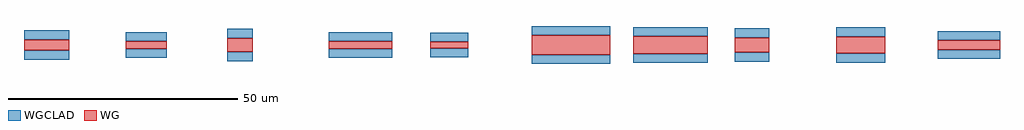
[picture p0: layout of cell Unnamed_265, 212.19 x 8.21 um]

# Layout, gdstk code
import gdstk
lib = gdstk.Library(unit=1e-6, precision=1e-09)
def R(c, l, rs):  # rectangles x0, y0, x1, y1
    for r in rs: c.add(gdstk.rectangle(r[:2], r[2:], *l))
WG = (1, 0)
WGCLAD = (111, 0)

straight_w2000_l13561_lw = lib.new_cell('straight_W2000_L13561_LWG_EWGSTD')
R(straight_w2000_l13561_lw, WG, [(0,-1,13.561,1)])
R(straight_w2000_l13561_lw, WGCLAD, [(0,-3,13.561,-1), (0,1,13.561,3)])

straight_w4206_l17070_lw = lib.new_cell('straight_W4206_L17070_LWG_EWGSTD')
R(straight_w4206_l17070_lw, WG, [(0,-2.103,17.07,2.103)])
R(straight_w4206_l17070_lw, WGCLAD, [(0,-4.103,17.07,-2.103), (0,2.103,17.07,4.103)])

straight_w3666_l10631_lw = lib.new_cell('straight_W3666_L10631_LWG_EWGSTD')
R(straight_w3666_l10631_lw, WG, [(0,-1.833,10.631,1.833)])
R(straight_w3666_l10631_lw, WGCLAD, [(0,-3.833,10.631,-1.833), (0,1.833,10.631,3.833)])

straight_w1328_l8343_lwg = lib.new_cell('straight_W1328_L8343_LWG_EWGSTD')
R(straight_w1328_l8343_lwg, WG, [(0,-0.664,8.343,0.664)])
R(straight_w1328_l8343_lwg, WGCLAD, [(0,-2.664,8.343,-0.664), (0,0.664,8.343,2.664)])

straight_w3250_l7577_lwg = lib.new_cell('straight_W3250_L7577_LWG_EWGSTD')
R(straight_w3250_l7577_lwg, WG, [(0,-1.625,7.577,1.625)])
R(straight_w3250_l7577_lwg, WGCLAD, [(0,-3.625,7.577,-1.625), (0,1.625,7.577,3.625)])

straight_w1650_l13872_lw = lib.new_cell('straight_W1650_L13872_LWG_EWGSTD')
R(straight_w1650_l13872_lw, WG, [(0,-0.825,13.872,0.825)])
R(straight_w1650_l13872_lw, WGCLAD, [(0,-2.825,13.872,-0.825), (0,0.825,13.872,2.825)])

straight_w3774_l16251_lw = lib.new_cell('straight_W3774_L16251_LWG_EWGSTD')
R(straight_w3774_l16251_lw, WG, [(0,-1.887,16.251,1.887)])
R(straight_w3774_l16251_lw, WGCLAD, [(0,-3.887,16.251,-1.887), (0,1.887,16.251,3.887)])

straight_w2958_l5563_lwg = lib.new_cell('straight_W2958_L5563_LWG_EWGSTD')
R(straight_w2958_l5563_lwg, WG, [(0,-1.479,5.563,1.479)])
R(straight_w2958_l5563_lwg, WGCLAD, [(0,-3.479,5.563,-1.479), (0,1.479,5.563,3.479)])

straight_w1562_l8925_lwg = lib.new_cell('straight_W1562_L8925_LWG_EWGSTD')
R(straight_w1562_l8925_lwg, WG, [(0,-0.781,8.925,0.781)])
R(straight_w1562_l8925_lwg, WGCLAD, [(0,-2.781,8.925,-0.781), (0,0.781,8.925,2.781)])

straight_w2338_l9795_lwg = lib.new_cell('straight_W2338_L9795_LWG_EWGSTD')
R(straight_w2338_l9795_lwg, WG, [(0,-1.169,9.795,1.169)])
R(straight_w2338_l9795_lwg, WGCLAD, [(0,-3.169,9.795,-1.169), (0,1.169,9.795,3.169)])

unnamed_265 = lib.new_cell('Unnamed_265')
unnamed_265.add(gdstk.Reference(straight_w2000_l13561_lw, (198.63,6.603)))
unnamed_265.add(gdstk.Reference(straight_w4206_l17070_lw, (110.35,6.603)))
unnamed_265.add(gdstk.Reference(straight_w3666_l10631_lw, (176.56,6.603)))
unnamed_265.add(gdstk.Reference(straight_w1328_l8343_lwg, (88.28,6.603)))
unnamed_265.add(gdstk.Reference(straight_w3250_l7577_lwg, (154.49,6.603)))
unnamed_265.add(gdstk.Reference(straight_w1650_l13872_lw, (66.21,6.603)))
unnamed_265.add(gdstk.Reference(straight_w3774_l16251_lw, (132.42,6.603)))
unnamed_265.add(gdstk.Reference(straight_w2958_l5563_lwg, (44.14,6.603)))
unnamed_265.add(gdstk.Reference(straight_w1562_l8925_lwg, (22.07,6.603)))
unnamed_265.add(gdstk.Reference(straight_w2338_l9795_lwg, (0,6.603)))

lib.write_gds('Unnamed_265.gds')
